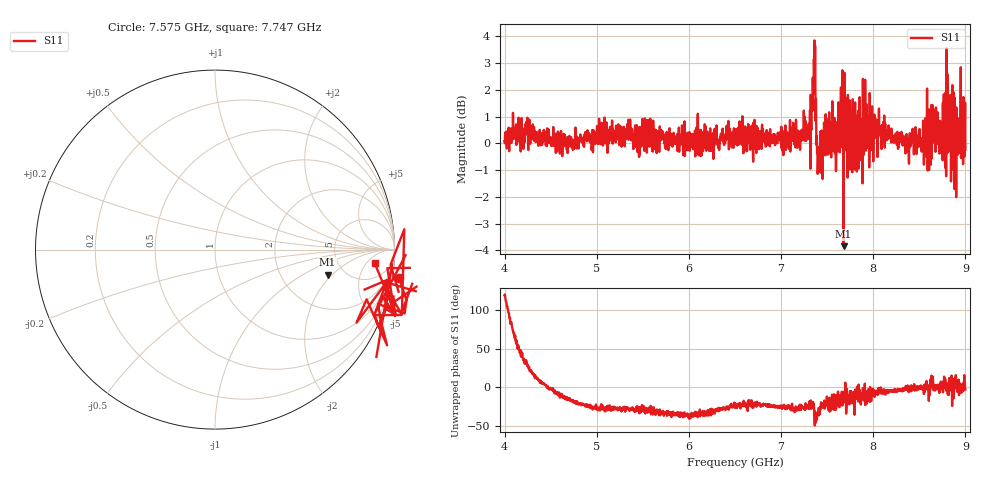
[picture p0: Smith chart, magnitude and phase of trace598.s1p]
! Created with skrf 1.8.0 (http://scikit-rf.org).
# Hz S RI R 50.0
!freq ReS11 ImS11
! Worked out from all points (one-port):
!   1601 points, 4 GHz to 9 GHz, reference 50 ohm
!   lowest |S11| = -3.8 dB at 7.678 GHz (marker M1), VSWR 4.59, Z = 185 - j87.8 ohm
!   |S11| at or under -10 dB: nowhere
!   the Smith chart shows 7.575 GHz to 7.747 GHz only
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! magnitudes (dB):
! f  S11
! 4 GHz  0.1
! 4.244 GHz  0.5
! 4.625 GHz  -0.5
! 5.25 GHz  0.3
! 5.875 GHz  -0.3
! 6.5 GHz  0.2
! 7.125 GHz  0.1
! 7.294 GHz  0.2
! 7.356 GHz  3.1
! 7.409 GHz  -0.8
! 7.491 GHz  0.9
! 7.591 GHz  0.8
! 7.647 GHz  1.2
! 7.678 GHz  -3.8
! 7.75 GHz  -0.3
! 7.881 GHz  0.8
! 7.928 GHz  0.9
! 7.956 GHz  -0.9
! 8.375 GHz  -0.2
! 8.538 GHz  0.0
! 8.559 GHz  -0.1
! 8.612 GHz  0.5
! 8.656 GHz  1.1
! 8.728 GHz  -0.3
! 8.816 GHz  -0.3
! 8.869 GHz  -0.7
! 8.972 GHz  0.6
! 9 GHz  -0.2
